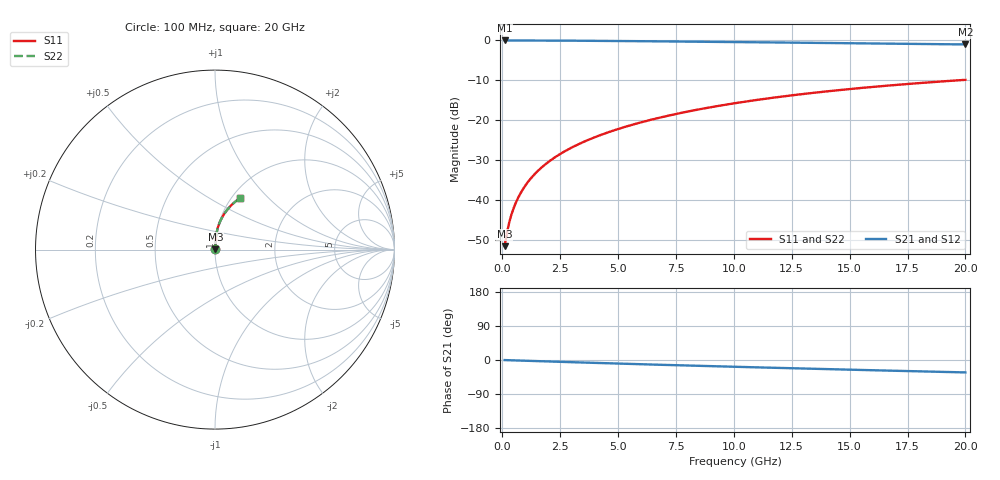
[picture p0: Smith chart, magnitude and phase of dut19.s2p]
! Touchstone file exported from HFSS 2024.1.0
!  File:  C:/UserFiles/LocalFiles/RDL_TSV_Batchsim/temp_RDL_bottom_19_1778691648.aedt
!  Generated:  01:03:17 AM May 14, 2026
!  Design:  RDL_bottom
!  Project:  temp_RDL_bottom_19_1778691648
!  Setup:  Setup1
!  Solution:  Sweep
! Variables:
!  dtsv = 10.80580581um
!  hbump = 3um
!  htsv = 71.6um
!  ldown = 443.54um
!  lrdl = 100um
!  p = 40
!  p1 = 51.74um
!  rhole = 1um
!  t = 450um
!  tdown = 3.8um
!  trdl = 3.915915916um
!  wdown = 22.08um
!  wrdl = 20um
# GHz S MA R 50.000000
! Terminal data exported
! Port[1] = RDL1_T1
! Port[2] = RDL1_T2
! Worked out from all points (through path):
!   200 points, 100 MHz to 20 GHz, reference 50 ohm
!   highest |S21| = -0.02 dB at 100 MHz (marker M1); lowest = -1.0 dB at 20 GHz (marker M2)
!   group delay of S21, straight-line fit = 4.51 ps
!   lowest |S11| = -51.6 dB at 100 MHz (marker M3), VSWR 1.01, Z = 50.2 + j0.164 ohm
!   |S11| at or under -10 dB: start of sweep to 19.72 GHz
!   |S22| runs from -51.6 to -9.9 dB; largest |S21 - S12| = 4.1e-15
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0.1  0.002632 38.3  0.9979 -0.2  0.9979 -0.2  0.002632 38.3
! Gamma 0 0 0 0
! Port Impedance 50 0 50 0
0.2  0.003866 55.9  0.9978 -0.4  0.9978 -0.4  0.003866 55.9
0.3  0.005231 64.3  0.9977 -0.6  0.9977 -0.6  0.005231 64.3
0.4  0.006622 69.2  0.9975 -0.8  0.9975 -0.8  0.006622 69.2
0.5  0.008026 72.5  0.9974 -1.0  0.9974 -1.0  0.008026 72.5
0.6  0.009442 74.9  0.9973 -1.2  0.9973 -1.2  0.009442 74.9
0.8  0.01231 78.1  0.997 -1.6  0.997 -1.6  0.01231 78.1
1.1  0.01667 81.0  0.9966 -2.2  0.9966 -2.2  0.01667 81.0
1.5  0.02258 83.1  0.9958 -2.9  0.9958 -2.9  0.02258 83.1
1.8  0.02706 84.1  0.9951 -3.5  0.9951 -3.5  0.02706 84.1
2.1  0.03158 84.7  0.9943 -4.1  0.9943 -4.1  0.03158 84.7
2.7  0.04075 85.4  0.9925 -5.2  0.9925 -5.2  0.04074 85.4
3.5  0.05322 85.8  0.9894 -6.7  0.9894 -6.7  0.05322 85.8
4.2  0.06439 85.7  0.9862 -8.0  0.9862 -8.0  0.06438 85.7
5  0.07741 85.3  0.9822 -9.4  0.9822 -9.4  0.0774 85.3
5.9  0.09235 84.6  0.9774 -11.0  0.9774 -11.0  0.09234 84.6
6.8  0.1075 83.7  0.9723 -12.6  0.9723 -12.6  0.1075 83.7
8.4  0.1349 81.8  0.9628 -15.2  0.9628 -15.2  0.1349 81.8
10.1  0.1641 79.3  0.9525 -18.0  0.9525 -18.0  0.164 79.3
13.4  0.2195 74.2  0.9319 -23.1  0.9319 -23.1  0.2195 74.2
16.7  0.2719 68.9  0.911 -28.1  0.911 -28.1  0.2718 68.9
20  0.3202 63.9  0.8896 -32.8  0.8896 -32.8  0.3201 63.9
